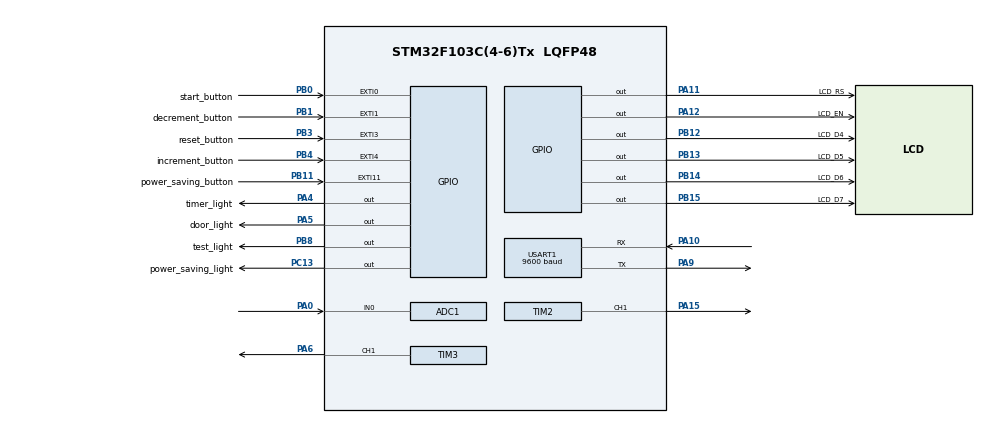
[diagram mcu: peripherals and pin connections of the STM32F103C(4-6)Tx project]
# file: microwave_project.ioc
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ADC1.Channel-2\#ChannelRegularConversion=ADC_CHANNEL_0
ADC1.NbrOfConversionFlag=1
ADC1.Rank-2\#ChannelRegularConversion=1
ADC1.SamplingTime-2\#ChannelRegularConversion=ADC_SAMPLETIME_1CYCLE_5
ADC1.master=1
Mcu.Family=STM32F1
Mcu.Name=STM32F103C(4-6)Tx
Mcu.Package=LQFP48
NVIC.ADC1_2_IRQn=true\:0\:0\:false\:false\:true\:true\:true
NVIC.EXTI0_IRQn=true\:1\:0\:true\:false\:true\:true\:true
NVIC.EXTI15_10_IRQn=true\:1\:0\:true\:false\:true\:true\:true
NVIC.EXTI1_IRQn=true\:1\:0\:true\:false\:true\:true\:true
NVIC.EXTI3_IRQn=true\:1\:0\:true\:false\:true\:true\:true
NVIC.EXTI4_IRQn=true\:1\:0\:true\:false\:true\:true\:true
NVIC.PriorityGroup=NVIC_PRIORITYGROUP_4
NVIC.TIM2_IRQn=true\:0\:0\:true\:false\:true\:true\:true
NVIC.TIM3_IRQn=true\:0\:0\:false\:false\:true\:true\:true
NVIC.USART1_IRQn=true\:0\:0\:false\:false\:true\:true\:true
PA0-WKUP.Signal=ADCx_IN0
PA10.Mode=Asynchronous
PA10.Signal=USART1_RX
PA11.GPIO_Label=LCD_RS
PA11.Signal=GPIO_Output
PA12.GPIO_Label=LCD_EN
PA12.Signal=GPIO_Output
PA13.Mode=Serial_Wire
PA13.Signal=SYS_JTMS-SWDIO
PA14.Mode=Serial_Wire
PA14.Signal=SYS_JTCK-SWCLK
PA15.Signal=S_TIM2_CH1_ETR
PA4.GPIO_Label=timer_light
PA4.Signal=GPIO_Output
PA5.GPIO_Label=door_light
PA5.Signal=GPIO_Output
PA6.Signal=S_TIM3_CH1
PA9.Mode=Asynchronous
PA9.Signal=USART1_TX
PB0.GPIO_Label=start_button
PB0.Signal=GPXTI0
PB1.GPIO_Label=decrement_button
PB1.Signal=GPXTI1
PB11.GPIO_Label=power_saving_button
PB11.Signal=GPXTI11
PB12.GPIO_Label=LCD_D4
PB12.Signal=GPIO_Output
PB13.GPIO_Label=LCD_D5
PB13.Signal=GPIO_Output
PB14.GPIO_Label=LCD_D6
PB14.Signal=GPIO_Output
PB15.GPIO_Label=LCD_D7
PB15.Signal=GPIO_Output
PB3.GPIO_Label=reset_button
PB3.Signal=GPXTI3
PB4.GPIO_Label=increment_button
PB4.Signal=GPXTI4
PB8.GPIO_Label=test_light
PB8.Signal=GPIO_Output
PC13-TAMPER-RTC.GPIO_Label=power_saving_light
PC13-TAMPER-RTC.Signal=GPIO_Output
PD0-OSC_IN.Mode=HSE-External-Oscillator
PD0-OSC_IN.Signal=RCC_OSC_IN
PD1-OSC_OUT.Mode=HSE-External-Oscillator
PD1-OSC_OUT.Signal=RCC_OSC_OUT
ProjectManager.HeapSize=0x200
ProjectManager.StackSize=0x400
ProjectManager.TargetToolchain=MDK-ARM V5.32
RCC.APB1Freq_Value=8000000
RCC.APB2Freq_Value=8000000
SH.ADCx_IN0.0=ADC1_IN0,IN0
SH.S_TIM2_CH1_ETR.0=TIM2_CH1,PWM Generation1 CH1
SH.S_TIM3_CH1.0=TIM3_CH1,PWM Generation1 CH1
TIM2.Channel-PWM\ Generation1\ CH1=TIM_CHANNEL_1
TIM2.Period=63999
TIM2.Prescaler=124
TIM3.Channel-PWM\ Generation1\ CH1=TIM_CHANNEL_1
TIM3.Period=63999
TIM3.Prescaler=124
USART1.BaudRate=9600
USART1.VirtualMode=VM_ASYNC
VP_TIM2_VS_ClockSourceINT.Mode=Internal
VP_TIM3_VS_ClockSourceINT.Mode=Internal
board=custom

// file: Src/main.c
/* USER CODE BEGIN Header */
/**
  ******************************************************************************
  * @file           : main.c
  * @brief          : Main program body
  ******************************************************************************
  * @attention
  *
  * Copyright (c) 2022 STMicroelectronics.
  * All rights reserved.
  *
  * This software is licensed under terms that can be found in the LICENSE file
  * in the root directory of this software component.
  * If no LICENSE file comes with this software, it is provided AS-IS.
  *
  ******************************************************************************
  */
/* USER CODE END Header */
#include "main.h"

/* USER CODE BEGIN Includes */
#include "LCD.h"
/* USER CODE END Includes */

/* USER CODE BEGIN PD */
uint8_t  current_time;
uint8_t  current_number;
uint8_t  idle_time;
int test;
/* USER CODE END PD */

ADC_HandleTypeDef hadc1;

TIM_HandleTypeDef htim2;
TIM_HandleTypeDef htim3;

UART_HandleTypeDef huart1;

void SystemClock_Config(void);
static void MX_GPIO_Init(void);
static void MX_TIM2_Init(void);
static void MX_USART1_UART_Init(void);
static void MX_ADC1_Init(void);
static void MX_TIM3_Init(void);

/* USER CODE BEGIN 0 */
uint8_t debugger[13] = "Hello World\r\n";
uint8_t start[13] = "Timer Start ";
uint8_t done[13] = "Timer Done\r\n";
uint8_t new_line[8] = "\r\n";
uint8_t sleep[19] = "Sleeping mode...\r\n";
uint8_t wake[19] = "waking up mode...\r\n";
char message[32]=" ";
int timer_running;
/* USER CODE END 0 */

void enter_sleep_mode(){
		HAL_TIM_Base_Stop_IT(&htim3);
		HAL_GPIO_TogglePin(door_light_GPIO_Port, door_light_Pin);
		HAL_TIM_Base_Stop(&htim2);
		HAL_UART_Transmit(&huart1, sleep, sizeof(sleep),HAL_MAX_DELAY);
		test = 0;
		HAL_GPIO_TogglePin(power_saving_light_GPIO_Port,power_saving_light_Pin);
		HAL_Delay(3000);
		HAL_SuspendTick();
		HAL_PWR_EnterSLEEPMode(PWR_MAINREGULATOR_ON,PWR_SLEEPENTRY_WFI);

		HAL_ResumeTick();

		HAL_UART_Transmit(&huart1, wake, sizeof(wake),HAL_MAX_DELAY);
		HAL_GPIO_TogglePin(power_saving_light_GPIO_Port,power_saving_light_Pin);
		HAL_TIM_Base_Start_IT(&htim3);
}

void print_timer_done(){
		sprintf(message,"%s","Timer Done");
		lcd_print(1,1,message);
		//HAL_Delay(10);

		sprintf(message,"%s","          ");
		lcd_print(1,1,message);

		//sprintf(message,"%02d",current_number/2);
		lcd_print(1,1,message);
}

int main(void)
{

  /* MCU Configuration--------------------------------------------------------*/

  /* Reset of all peripherals, Initializes the Flash interface and the Systick. */
  HAL_Init();

  /* Configure the system clock */
  SystemClock_Config();

  /* Initialize all configured peripherals */
  MX_GPIO_Init();
  MX_TIM2_Init();
  MX_USART1_UART_Init();
  MX_ADC1_Init();
  MX_TIM3_Init();
  /* USER CODE BEGIN 2 */
	/*LCD setup*/
	current_time = 0;
	current_number = 0;
	lcd_init(_LCD_4BIT, _LCD_FONT_5x8, _LCD_2LINE);
	lcd_print(1,1,"Welcome...");
	lcd_print(1,1,"Systems ON...");
	HAL_Delay(1500);
	lcd_clear();

	HAL_ADCEx_Calibration_Start(&hadc1);
	uint32_t adcReturnValue = 0;
	int num = 0;
	float temperature = 0;
	int temp_cast = 0;
	int BUZZER =0;
	//To check if time is running or not
	timer_running = 0;
	current_number = 0;
	sprintf(message,"%02d",current_number);
	lcd_print(1,1,message);
	test = 0;
	idle_time = 0;
	HAL_TIM_Base_Start_IT(&htim3);
	HAL_GPIO_TogglePin(power_saving_light_GPIO_Port,power_saving_light_Pin);
  /* USER CODE END 2 */

  /* Infinite loop */
  /* USER CODE BEGIN WHILE */
  while (1)
  {

		HAL_ADC_Start(&hadc1);

		if (HAL_ADC_PollForConversion(&hadc1, 1000) == HAL_OK){
			adcReturnValue = HAL_ADC_GetValue(&hadc1);
       temperature = adcReturnValue * 0.0805664;
			BUZZER = adcReturnValue*0.0805664; // any converstion for a value
			temp_cast = temperature * 10;
			HAL_Delay(50);

			while (BUZZER <255)
			{
				htim2.Instance->CCR1 = BUZZER ; // vary the duty cycle
				BUZZER += 20; // increase the duty cycle by 20
			}

			BUZZER = 0; //

			if (temperature > 50) {
				HAL_GPIO_TogglePin(GPIOB, GPIO_PIN_9);
			}
			 	HAL_Delay(1);
		}
		HAL_Delay(5000);
		uint8_t array;
		array = (uint8_t)&temperature;
		uint8_t newNumber[5];
		sprintf(newNumber,"%ld\r\n", array);
		HAL_UART_Transmit(&huart1, newNumber, sizeof(newNumber),HAL_MAX_DELAY);

		if (test > 0)
		{
			enter_sleep_mode();
		}
    /* USER CODE END WHILE */

  }
}

void SystemClock_Config(void)
{
  RCC_OscInitTypeDef RCC_OscInitStruct = {0};
  RCC_ClkInitTypeDef RCC_ClkInitStruct = {0};
  RCC_PeriphCLKInitTypeDef PeriphClkInit = {0};

  /** Initializes the RCC Oscillators according to the specified parameters
  * in the RCC_OscInitTypeDef structure.
  */
  RCC_OscInitStruct.OscillatorType = RCC_OSCILLATORTYPE_HSI;
  RCC_OscInitStruct.HSIState = RCC_HSI_ON;
  RCC_OscInitStruct.HSICalibrationValue = RCC_HSICALIBRATION_DEFAULT;
  RCC_OscInitStruct.PLL.PLLState = RCC_PLL_NONE;
  if (HAL_RCC_OscConfig(&RCC_OscInitStruct) != HAL_OK)
  {
    Error_Handler();
  }
  /** Initializes the CPU, AHB and APB buses clocks
  */
  RCC_ClkInitStruct.ClockType = RCC_CLOCKTYPE_HCLK|RCC_CLOCKTYPE_SYSCLK
                              |RCC_CLOCKTYPE_PCLK1|RCC_CLOCKTYPE_PCLK2;
  RCC_ClkInitStruct.SYSCLKSource = RCC_SYSCLKSOURCE_HSI;
  RCC_ClkInitStruct.AHBCLKDivider = RCC_SYSCLK_DIV1;
  RCC_ClkInitStruct.APB1CLKDivider = RCC_HCLK_DIV1;
  RCC_ClkInitStruct.APB2CLKDivider = RCC_HCLK_DIV1;

  if (HAL_RCC_ClockConfig(&RCC_ClkInitStruct, FLASH_LATENCY_0) != HAL_OK)
  {
    Error_Handler();
  }
  PeriphClkInit.PeriphClockSelection = RCC_PERIPHCLK_ADC;
  PeriphClkInit.AdcClockSelection = RCC_ADCPCLK2_DIV2;
  if (HAL_RCCEx_PeriphCLKConfig(&PeriphClkInit) != HAL_OK)
  {
    Error_Handler();
  }
}

static void MX_ADC1_Init(void)
{

  ADC_ChannelConfTypeDef sConfig = {0};

  /** Common config
  */
  hadc1.Instance = ADC1;
  hadc1.Init.ScanConvMode = ADC_SCAN_DISABLE;
  hadc1.Init.ContinuousConvMode = DISABLE;
  hadc1.Init.DiscontinuousConvMode = DISABLE;
  hadc1.Init.ExternalTrigConv = ADC_SOFTWARE_START;
  hadc1.Init.DataAlign = ADC_DATAALIGN_RIGHT;
  hadc1.Init.NbrOfConversion = 1;
  if (HAL_ADC_Init(&hadc1) != HAL_OK)
  {
    Error_Handler();
  }
  /** Configure Regular Channel
  */
  sConfig.Channel = ADC_CHANNEL_0;
  sConfig.Rank = ADC_REGULAR_RANK_1;
  sConfig.SamplingTime = ADC_SAMPLETIME_1CYCLE_5;
  if (HAL_ADC_ConfigChannel(&hadc1, &sConfig) != HAL_OK)
  {
    Error_Handler();
  }

}

static void MX_TIM2_Init(void)
{

  TIM_ClockConfigTypeDef sClockSourceConfig = {0};
  TIM_MasterConfigTypeDef sMasterConfig = {0};
  TIM_OC_InitTypeDef sConfigOC = {0};

  htim2.Instance = TIM2;
  htim2.Init.Prescaler = 124;
  htim2.Init.CounterMode = TIM_COUNTERMODE_UP;
  htim2.Init.Period = 63999;
  htim2.Init.ClockDivision = TIM_CLOCKDIVISION_DIV1;
  htim2.Init.AutoReloadPreload = TIM_AUTORELOAD_PRELOAD_DISABLE;
  if (HAL_TIM_Base_Init(&htim2) != HAL_OK)
  {
    Error_Handler();
  }
  sClockSourceConfig.ClockSource = TIM_CLOCKSOURCE_INTERNAL;
  if (HAL_TIM_ConfigClockSource(&htim2, &sClockSourceConfig) != HAL_OK)
  {
    Error_Handler();
  }
  if (HAL_TIM_PWM_Init(&htim2) != HAL_OK)
  {
    Error_Handler();
  }
  sMasterConfig.MasterOutputTrigger = TIM_TRGO_RESET;
  sMasterConfig.MasterSlaveMode = TIM_MASTERSLAVEMODE_DISABLE;
  if (HAL_TIMEx_MasterConfigSynchronization(&htim2, &sMasterConfig) != HAL_OK)
  {
    Error_Handler();
  }
  sConfigOC.OCMode = TIM_OCMODE_PWM1;
  sConfigOC.Pulse = 0;
  sConfigOC.OCPolarity = TIM_OCPOLARITY_HIGH;
  sConfigOC.OCFastMode = TIM_OCFAST_DISABLE;
  if (HAL_TIM_PWM_ConfigChannel(&htim2, &sConfigOC, TIM_CHANNEL_1) != HAL_OK)
  {
    Error_Handler();
  }
  HAL_TIM_MspPostInit(&htim2);

}

static void MX_TIM3_Init(void)
{

  TIM_ClockConfigTypeDef sClockSourceConfig = {0};
  TIM_MasterConfigTypeDef sMasterConfig = {0};
  TIM_OC_InitTypeDef sConfigOC = {0};

  htim3.Instance = TIM3;
  htim3.Init.Prescaler = 124;
  htim3.Init.CounterMode = TIM_COUNTERMODE_UP;
  htim3.Init.Period = 63999;
  htim3.Init.ClockDivision = TIM_CLOCKDIVISION_DIV1;
  htim3.Init.AutoReloadPreload = TIM_AUTORELOAD_PRELOAD_DISABLE;
  if (HAL_TIM_Base_Init(&htim3) != HAL_OK)
  {
    Error_Handler();
  }
  sClockSourceConfig.ClockSource = TIM_CLOCKSOURCE_INTERNAL;
  if (HAL_TIM_ConfigClockSource(&htim3, &sClockSourceConfig) != HAL_OK)
  {
    Error_Handler();
  }
  if (HAL_TIM_PWM_Init(&htim3) != HAL_OK)
  {
    Error_Handler();
  }
  sMasterConfig.MasterOutputTrigger = TIM_TRGO_RESET;
  sMasterConfig.MasterSlaveMode = TIM_MASTERSLAVEMODE_DISABLE;
  if (HAL_TIMEx_MasterConfigSynchronization(&htim3, &sMasterConfig) != HAL_OK)
  {
    Error_Handler();
  }
  sConfigOC.OCMode = TIM_OCMODE_PWM1;
  sConfigOC.Pulse = 0;
  sConfigOC.OCPolarity = TIM_OCPOLARITY_HIGH;
  sConfigOC.OCFastMode = TIM_OCFAST_DISABLE;
  if (HAL_TIM_PWM_ConfigChannel(&htim3, &sConfigOC, TIM_CHANNEL_1) != HAL_OK)
  {
    Error_Handler();
  }
  HAL_TIM_MspPostInit(&htim3);

}

static void MX_USART1_UART_Init(void)
{

  huart1.Instance = USART1;
  huart1.Init.BaudRate = 9600;
  huart1.Init.WordLength = UART_WORDLENGTH_8B;
  huart1.Init.StopBits = UART_STOPBITS_1;
  huart1.Init.Parity = UART_PARITY_NONE;
  huart1.Init.Mode = UART_MODE_TX_RX;
  huart1.Init.HwFlowCtl = UART_HWCONTROL_NONE;
  huart1.Init.OverSampling = UART_OVERSAMPLING_16;
  if (HAL_UART_Init(&huart1) != HAL_OK)
  {
    Error_Handler();
  }

}

static void MX_GPIO_Init(void)
{
  GPIO_InitTypeDef GPIO_InitStruct = {0};

  /* GPIO Ports Clock Enable */
  __HAL_RCC_GPIOC_CLK_ENABLE();
  __HAL_RCC_GPIOD_CLK_ENABLE();
  __HAL_RCC_GPIOA_CLK_ENABLE();
  __HAL_RCC_GPIOB_CLK_ENABLE();

  /*Configure GPIO pin Output Level */
  HAL_GPIO_WritePin(power_saving_light_GPIO_Port, power_saving_light_Pin, GPIO_PIN_RESET);

  /*Configure GPIO pin Output Level */
  HAL_GPIO_WritePin(GPIOA, timer_light_Pin|door_light_Pin|LCD_RS_Pin|LCD_EN_Pin, GPIO_PIN_RESET);

  /*Configure GPIO pin Output Level */
  HAL_GPIO_WritePin(GPIOB, LCD_D4_Pin|LCD_D5_Pin|LCD_D6_Pin|LCD_D7_Pin
                          |test_light_Pin, GPIO_PIN_RESET);

  /*Configure GPIO pin : power_saving_light_Pin */
  GPIO_InitStruct.Pin = power_saving_light_Pin;
  GPIO_InitStruct.Mode = GPIO_MODE_OUTPUT_PP;
  GPIO_InitStruct.Pull = GPIO_NOPULL;
  GPIO_InitStruct.Speed = GPIO_SPEED_FREQ_LOW;
  HAL_GPIO_Init(power_saving_light_GPIO_Port, &GPIO_InitStruct);

  /*Configure GPIO pins : timer_light_Pin door_light_Pin LCD_RS_Pin LCD_EN_Pin */
  GPIO_InitStruct.Pin = timer_light_Pin|door_light_Pin|LCD_RS_Pin|LCD_EN_Pin;
  GPIO_InitStruct.Mode = GPIO_MODE_OUTPUT_PP;
  GPIO_InitStruct.Pull = GPIO_NOPULL;
  GPIO_InitStruct.Speed = GPIO_SPEED_FREQ_LOW;
  HAL_GPIO_Init(GPIOA, &GPIO_InitStruct);

  /*Configure GPIO pins : start_button_Pin decrement_button_Pin power_saving_button_Pin reset_button_Pin
                           increment_button_Pin */
  GPIO_InitStruct.Pin = start_button_Pin|decrement_button_Pin|power_saving_button_Pin|reset_button_Pin
                          |increment_button_Pin;
  GPIO_InitStruct.Mode = GPIO_MODE_IT_RISING;
  GPIO_InitStruct.Pull = GPIO_NOPULL;
  HAL_GPIO_Init(GPIOB, &GPIO_InitStruct);

  /*Configure GPIO pins : LCD_D4_Pin LCD_D5_Pin LCD_D6_Pin LCD_D7_Pin
                           test_light_Pin */
  GPIO_InitStruct.Pin = LCD_D4_Pin|LCD_D5_Pin|LCD_D6_Pin|LCD_D7_Pin
                          |test_light_Pin;
  GPIO_InitStruct.Mode = GPIO_MODE_OUTPUT_PP;
  GPIO_InitStruct.Pull = GPIO_NOPULL;
  GPIO_InitStruct.Speed = GPIO_SPEED_FREQ_LOW;
  HAL_GPIO_Init(GPIOB, &GPIO_InitStruct);

  /* EXTI interrupt init*/
  HAL_NVIC_SetPriority(EXTI0_IRQn, 1, 0);
  HAL_NVIC_EnableIRQ(EXTI0_IRQn);

  HAL_NVIC_SetPriority(EXTI1_IRQn, 1, 0);
  HAL_NVIC_EnableIRQ(EXTI1_IRQn);

  HAL_NVIC_SetPriority(EXTI3_IRQn, 1, 0);
  HAL_NVIC_EnableIRQ(EXTI3_IRQn);

  HAL_NVIC_SetPriority(EXTI4_IRQn, 1, 0);
  HAL_NVIC_EnableIRQ(EXTI4_IRQn);

  HAL_NVIC_SetPriority(EXTI15_10_IRQn, 1, 0);
  HAL_NVIC_EnableIRQ(EXTI15_10_IRQn);

}

/* USER CODE BEGIN 4 */
void HAL_TIM_PeriodElapsedCallback(TIM_HandleTypeDef *htim2)
{
	if (htim2->Instance == TIM2)
	{
		if(current_time < current_number){

			HAL_GPIO_TogglePin(GPIOA, GPIO_PIN_4);
			current_time++;
			sprintf(message,"%02d",((current_number - current_time)+1)/2);
			lcd_print(1,1,message);
		}
		else{
			HAL_TIM_Base_Stop_IT(htim2);
			//HAL_GPIO_TogglePin(GPIOA, GPIO_PIN_4);
			HAL_UART_Transmit(&huart1, done, sizeof(done), HAL_MAX_DELAY);
			current_time = 0;
			timer_running = 0;
			current_number = 0;
			HAL_GPIO_TogglePin(door_light_GPIO_Port, door_light_Pin);
			print_timer_done();
		}
	}
	if (htim2->Instance == TIM3)
	{
		if(timer_running == 0)
		{
				idle_time++;
		}

		if(idle_time == 15 && timer_running == 0)
		{
			test++;
		}
	}

}

void HAL_GPIO_EXTI_Callback(uint16_t GPIO_Pin)
{
	HAL_PWR_DisableSleepOnExit ();
	idle_time = 0;
	if (GPIO_Pin == start_button_Pin){
		if (current_number == 0){
			current_number = 0;
		}
		else{
			uint8_t newNumber[5];
			uint8_t y = current_number/2;
			sprintf(newNumber,"%ld\r\n", y);
			timer_running = 1;
			HAL_UART_Transmit(&huart1, start, sizeof(start),HAL_MAX_DELAY);
			HAL_UART_Transmit(&huart1, newNumber, sizeof(newNumber),HAL_MAX_DELAY);

			current_time = 0;
			HAL_TIM_Base_Start_IT(&htim2);
			HAL_GPIO_TogglePin(door_light_GPIO_Port, door_light_Pin);
		}

	}
	else if (GPIO_Pin == increment_button_Pin){
		//increment Counter

		if(current_number == 60){
			current_number = 60;
		}
		else if (current_number != 60 && timer_running == 0){
			current_number++;
			sprintf(message,"%02d",current_number/2);
			lcd_print(1,1,message);

		}

	}
	else if (GPIO_Pin == decrement_button_Pin){
		//increment Counter
		if(current_number == 0){
			current_number = 0;
		}
		else if(current_number != 0 && timer_running == 0){
			current_number--;
			sprintf(message,"%02d",current_number/2);
			lcd_print(1,1,message);

		}
	}

	else if (GPIO_Pin == power_saving_button_Pin){
		//increment Counter
		test++;
	}

	else if (GPIO_Pin == reset_button_Pin){
		//increment Counter
		current_number = 0;
		HAL_TIM_Base_Stop_IT(&htim2);
		lcd_print(1,1,"Reset Clicked");

	}
}

/* USER CODE END 4 */

void Error_Handler(void)
{
  __disable_irq();
  while (1)
  {
  }
}
